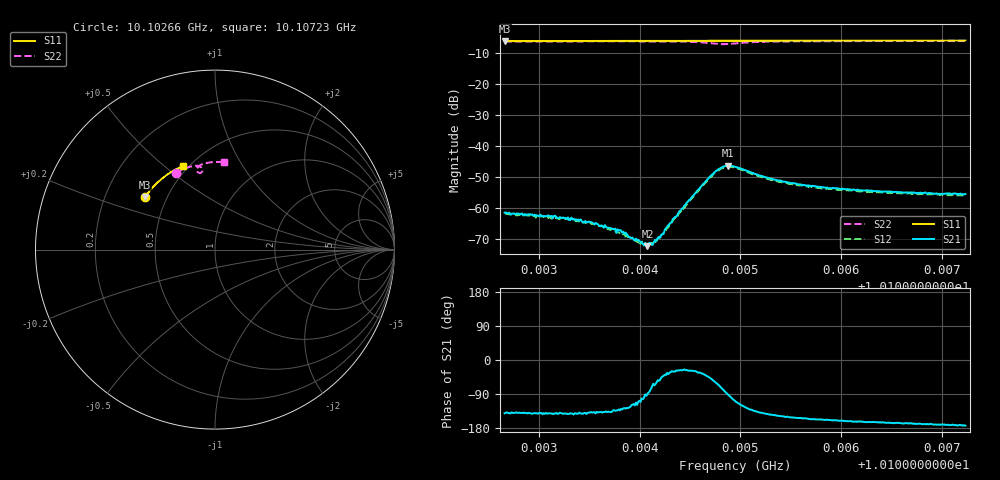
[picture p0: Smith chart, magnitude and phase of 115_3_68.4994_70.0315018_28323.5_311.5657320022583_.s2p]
#  HZ  S  RI  R  50.00
! Rohde & Schwarz Vector Network Analyzer
! Rohde-Schwarz,ZNB20-2Port,1311601062101988,3.16
! Created: UTC 3/20/2024, 4:53:44 PM
! freq[Hz]  re:S11  im:S11  re:S21  im:S21  re:S12  im:S12  re:S22  im:S22
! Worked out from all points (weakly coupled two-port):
!   401 points, 10.10266 GHz to 10.10723 GHz, reference 50 ohm
!   highest |S21| = -46.49 dB at 10.10488 GHz (marker M1); lowest = -72.5 dB at 10.10408 GHz (marker M2)
!   lowest |S11| = -6.2 dB at 10.10266 GHz (marker M3), VSWR 2.90, Z = 18.9 + j14.5 ohm
!   |S11| at or under -10 dB: nowhere
!   |S22| runs from -7.2 to -6.2 dB; largest |S21 - S12| = 0.00048
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1.010266e10  -0.3896 0.2927  -0.000639 -0.000525  -0.000566 -0.000575  -0.218 0.4274
1.0103106e10  -0.3737 0.3146  -0.000563 -0.000459  -0.00051 -0.000474  -0.1918 0.4411
1.0103426e10  -0.3617 0.3299  -0.000468 -0.000378  -0.000428 -0.000438  -0.1719 0.4498
1.0103517e10  -0.358 0.3343  -0.00043 -0.000397  -0.000403 -0.000379  -0.166 0.4522
1.0103803e10  -0.3466 0.3473  -0.000295 -0.000318  -0.000235 -0.000304  -0.147 0.4592
1.0103849e10  -0.3447 0.3493  -0.000224 -0.000302  -0.000206 -0.000321  -0.1439 0.4602
1.0103929e10  -0.3415 0.3528  -0.000154 -0.00029  -0.000114 -0.000288  -0.1383 0.4618
1.0103986e10  -0.3389 0.3554  -0.000105 -0.000282  -8.36e-05 -0.000258  -0.1341 0.4629
1.0104055e10  -0.336 0.3583  -4.68e-06 -0.000269  -9.96e-06 -0.000252  -0.129 0.4642
1.0104077e10  -0.3352 0.3593  3.46e-06 -0.000238  7.14e-06 -0.000246  -0.1272 0.4646
1.0104135e10  -0.3327 0.3618  0.000117 -0.000227  0.000122 -0.000261  -0.1228 0.4655
1.0104192e10  -0.3303 0.3644  0.000194 -0.000276  0.00019 -0.000227  -0.1181 0.4663
1.0104466e10  -0.3181 0.3759  0.00108 -0.000533  0.00104 -0.000417  -0.0924 0.4663
1.0104694e10  -0.3077 0.385  0.00216 -0.00229  0.00225 -0.00198  -0.0697 0.4477
1.0104797e10  -0.303 0.3889  0.00148 -0.00404  0.00175 -0.00373  -0.0744 0.4304
1.0104877e10  -0.2993 0.392  -0.000115 -0.00474  0.00027 -0.00453  -0.0893 0.4274
1.0104946e10  -0.2962 0.3946  -0.00141 -0.00435  -0.001 -0.00428  -0.0986 0.4352
1.0105312e10  -0.279 0.4083  -0.00237 -0.00169  -0.00212 -0.00179  -0.0807 0.4714
1.0105712e10  -0.2592 0.4224  -0.00205 -0.000911  -0.00188 -0.00104  -0.0498 0.4822
1.0106031e10  -0.2427 0.4329  -0.00187 -0.000641  -0.00173 -0.000769  -0.0273 0.4861
1.0106477e10  -0.2194 0.4464  -0.00175 -0.000464  -0.00162 -0.000582  0.00293 0.4886
1.0107231e10  -0.1782 0.466  -0.00164 -0.000194  -0.00154 -0.000351  0.0526 0.488
